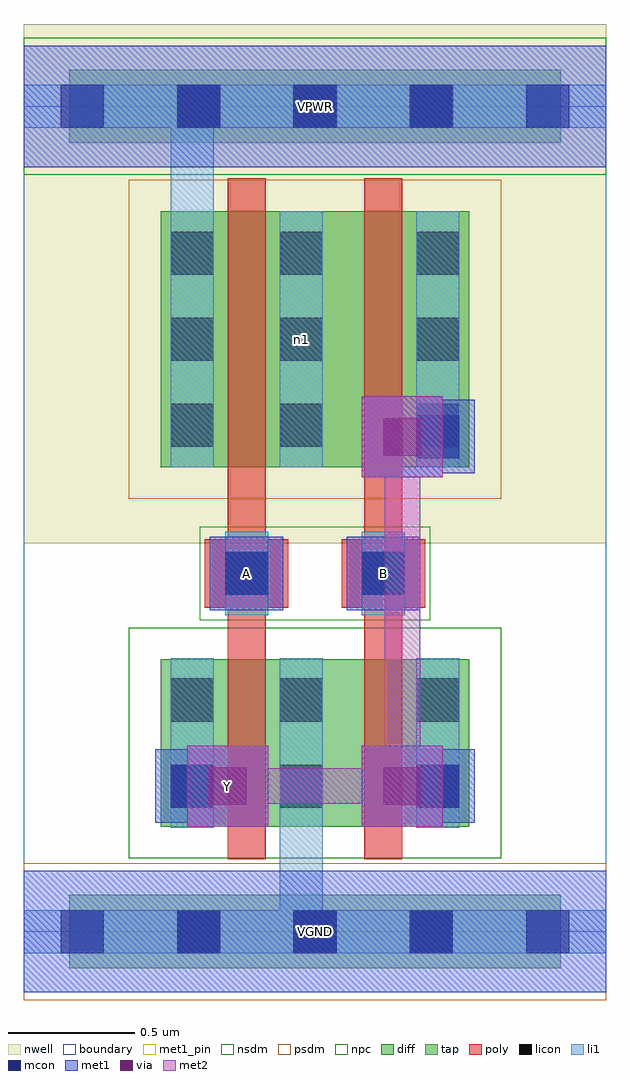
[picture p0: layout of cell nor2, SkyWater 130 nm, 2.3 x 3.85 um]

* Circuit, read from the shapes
.subckt nor2 A B VGND VPWR Y n1
XM1 VGND A Y VGND sky130_fd_pr__nfet_01v8 w=0.66 l=0.15
XM2 Y B VGND VGND sky130_fd_pr__nfet_01v8 w=0.66 l=0.15
XM3 n1 A VPWR VPWR sky130_fd_pr__pfet_01v8 w=1.01 l=0.15
XM4 Y B n1 VPWR sky130_fd_pr__pfet_01v8 w=1.01 l=0.15
.ends

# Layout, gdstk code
import gdstk
lib = gdstk.Library(unit=1e-6, precision=1e-09)
def R(c, l, rs):  # rectangles x0, y0, x1, y1
    for r in rs: c.add(gdstk.rectangle(r[:2], r[2:], *l))
def A(c, l, x, y, w, h, nx, ny, dx, dy):  # array of equal rectangles
    R(c, l, [(x+i*dx, y+j*dy, x+i*dx+w, y+j*dy+h) for i in range(nx) for j in range(ny)])
nwell = (64, 20)
diff = (65, 20)
tap = (65, 44)
poly = (66, 20)
licon = (66, 44)
li1 = (67, 20)
mcon = (67, 44)
met1_pin = (68, 16)
met1 = (68, 20)
via = (68, 44)
met2 = (69, 20)
nsdm = (93, 44)
psdm = (94, 20)
npc = (95, 20)
boundary = (235, 4)

nor2 = lib.new_cell('nor2')
R(nor2, nwell, [(0,1.535,2.3,3.585)])
R(nor2, diff, [(0.54,0.415,1.76,1.075), (0.54,1.835,1.76,2.845)])
R(nor2, tap, [(0.18,-0.145,2.12,0.145), (0.18,3.115,2.12,3.405)])
R(nor2, poly, [(0.805,0.285,0.955,2.975), (1.345,0.285,1.495,2.975), (0.715,1.28,1.045,1.55), (1.255,1.28,1.585,1.55)])
A(nor2, licon, 0.605, -0.085, 0.17, 0.17, 3, 2, 0.46, 3.26)
A(nor2, licon, 0.58, 1.915, 0.17, 0.17, 1, 3, 0, 0.34)
A(nor2, licon, 1.01, 1.915, 0.17, 0.17, 1, 3, 0, 0.34)
A(nor2, licon, 1.55, 1.915, 0.17, 0.17, 1, 3, 0, 0.34)
R(nor2, licon, [(0.58,0.49,0.75,0.66), (1.01,0.49,1.18,0.66), (1.55,0.49,1.72,0.66), (0.58,0.83,0.75,1), (1.01,0.83,1.18,1), (1.55,0.83,1.72,1), (0.795,1.33,0.965,1.5), (1.335,1.33,1.505,1.5)])
R(nor2, li1, [(0,-0.085,2.3,0.085), (1.01,-0.085,1.18,1.08), (0.58,0.41,0.75,1.08), (1.01,0.41,1.18,1.08), (1.55,0.41,1.72,1.08), (0.795,1.25,0.965,1.58), (1.335,1.25,1.505,1.58), (0.58,1.835,0.75,2.845), (0.58,1.835,0.75,3.345), (1.01,1.835,1.18,2.845), (1.55,1.835,1.72,2.845), (0,3.175,2.3,3.345)])
A(nor2, mcon, 0.145, -0.085, 0.17, 0.17, 5, 2, 0.46, 3.26)
R(nor2, mcon, [(0.58,0.49,0.75,0.66), (1.55,0.49,1.72,0.66), (0.795,1.33,0.965,1.5), (1.335,1.33,1.505,1.5), (1.55,1.87,1.72,2.04)])
R(nor2, met1_pin, [(0,-0.24,2.3,0.24), (0.645,0.415,0.965,0.735), (0.735,1.27,1.025,1.56), (1.275,1.27,1.565,1.56), (0,3.02,2.3,3.5)])
R(nor2, met1, [(0,-0.24,2.3,0.24), (0.645,0.415,0.965,0.735), (1.335,0.415,1.655,0.735), (0.52,0.43,0.81,0.72), (1.49,0.43,1.78,0.72), (0.595,0.505,0.875,0.645), (1.425,0.505,1.705,0.645), (0.735,1.27,1.025,1.56), (1.275,1.27,1.565,1.56), (1.335,1.795,1.655,2.115), (1.49,1.81,1.78,2.1), (1.425,1.885,1.705,2.025), (0,3.02,2.3,3.5)])
R(nor2, via, [(0.73,0.5,0.88,0.65), (1.42,0.5,1.57,0.65), (1.42,1.88,1.57,2.03)])
R(nor2, met2, [(0.645,0.415,0.965,0.735), (1.335,0.415,1.655,0.735), (0.735,0.505,1.565,0.645), (1.425,0.505,1.565,2.025), (1.335,1.795,1.655,2.115)])
R(nor2, nsdm, [(0.415,0.29,1.885,1.2), (0,2.99,2.3,3.53)])
R(nor2, psdm, [(0,-0.27,2.3,0.27), (0.415,1.71,1.885,2.97)])
R(nor2, npc, [(0.695,1.23,1.605,1.6)])
R(nor2, boundary, [(0,0,2.3,3.26)])
nor2.add(gdstk.Label('n1', (1.095,2.34), layer=67, texttype=5))
nor2.add(gdstk.Label('A', (0.88,1.415), layer=68, texttype=5))
nor2.add(gdstk.Label('B', (1.42,1.415), layer=68, texttype=5))
nor2.add(gdstk.Label('Y', (0.805,0.575), layer=68, texttype=5))
nor2.add(gdstk.Label('VPWR', (1.15,3.26), layer=68, texttype=5))
nor2.add(gdstk.Label('VGND', (1.15,0), layer=68, texttype=5))
nor2.add(gdstk.Label('A', (0.88,1.415), layer=68, texttype=16))
nor2.add(gdstk.Label('B', (1.42,1.415), layer=68, texttype=16))
nor2.add(gdstk.Label('Y', (0.805,0.575), layer=68, texttype=16))
nor2.add(gdstk.Label('VPWR', (1.15,3.26), layer=68, texttype=16))
nor2.add(gdstk.Label('VGND', (1.15,0), layer=68, texttype=16))

lib.write_gds('nor2.gds')
